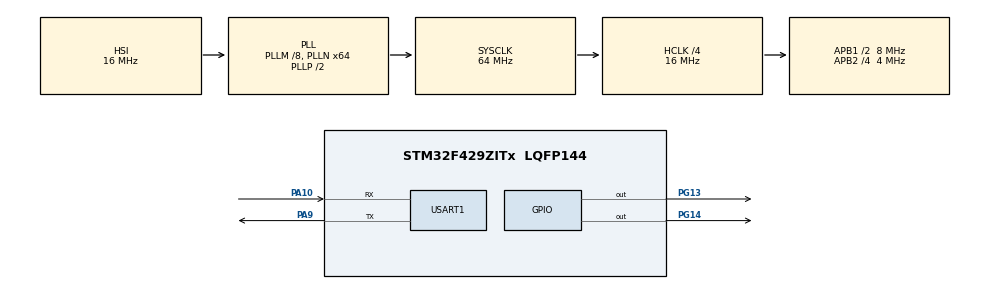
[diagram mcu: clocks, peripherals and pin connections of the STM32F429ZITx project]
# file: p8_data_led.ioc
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ADC1.Channel-0\#ChannelRegularConversion=ADC_CHANNEL_VREFINT
ADC1.Channel-1\#ChannelRegularConversion=ADC_CHANNEL_TEMPSENSOR
ADC1.ContinuousConvMode=DISABLE
ADC1.NbrOfConversion=2
ADC1.NbrOfConversionFlag=1
ADC1.Rank-0\#ChannelRegularConversion=1
ADC1.Rank-1\#ChannelRegularConversion=2
ADC1.SamplingTime-0\#ChannelRegularConversion=ADC_SAMPLETIME_56CYCLES
ADC1.SamplingTime-1\#ChannelRegularConversion=ADC_SAMPLETIME_56CYCLES
ADC1.master=1
Dma.Request0=USART1_RX
Dma.Request1=USART1_TX
Dma.USART1_RX.0.Direction=DMA_PERIPH_TO_MEMORY
Dma.USART1_RX.0.FIFOMode=DMA_FIFOMODE_DISABLE
Dma.USART1_RX.0.Instance=DMA2_Stream2
Dma.USART1_RX.0.MemDataAlignment=DMA_MDATAALIGN_BYTE
Dma.USART1_RX.0.MemInc=DMA_MINC_ENABLE
Dma.USART1_RX.0.Mode=DMA_NORMAL
Dma.USART1_RX.0.PeriphDataAlignment=DMA_PDATAALIGN_BYTE
Dma.USART1_RX.0.PeriphInc=DMA_PINC_DISABLE
Dma.USART1_RX.0.Priority=DMA_PRIORITY_LOW
Dma.USART1_TX.1.Direction=DMA_MEMORY_TO_PERIPH
Dma.USART1_TX.1.FIFOMode=DMA_FIFOMODE_DISABLE
Dma.USART1_TX.1.Instance=DMA2_Stream7
Dma.USART1_TX.1.MemDataAlignment=DMA_MDATAALIGN_BYTE
Dma.USART1_TX.1.MemInc=DMA_MINC_ENABLE
Dma.USART1_TX.1.Mode=DMA_NORMAL
Dma.USART1_TX.1.PeriphDataAlignment=DMA_PDATAALIGN_BYTE
Dma.USART1_TX.1.PeriphInc=DMA_PINC_DISABLE
Dma.USART1_TX.1.Priority=DMA_PRIORITY_LOW
Mcu.Family=STM32F4
Mcu.Name=STM32F429ZITx
Mcu.Package=LQFP144
NVIC.ADC_IRQn=true\:0\:0\:false\:false\:true\:true\:true\:true
NVIC.DMA2_Stream2_IRQn=true\:0\:0\:false\:false\:true\:false\:true\:true
NVIC.DMA2_Stream7_IRQn=true\:0\:0\:false\:false\:true\:false\:true\:true
NVIC.PriorityGroup=NVIC_PRIORITYGROUP_4
NVIC.USART1_IRQn=true\:0\:0\:false\:false\:true\:true\:true\:true
PA10.Mode=Asynchronous
PA10.Signal=USART1_RX
PA9.Mode=Asynchronous
PA9.Signal=USART1_TX
PG13.Signal=GPIO_Output
PG14.Signal=GPIO_Output
ProjectManager.HeapSize=0x200
ProjectManager.StackSize=0x400
ProjectManager.TargetToolchain=STM32CubeIDE
RCC.48MHZClocksFreq_Value=32000000
RCC.AHBCLKDivider=RCC_SYSCLK_DIV4
RCC.AHBFreq_Value=16000000
RCC.APB1CLKDivider=RCC_HCLK_DIV2
RCC.APB1Freq_Value=8000000
RCC.APB1TimFreq_Value=16000000
RCC.APB2CLKDivider=RCC_HCLK_DIV4
RCC.APB2Freq_Value=4000000
RCC.APB2TimFreq_Value=8000000
RCC.CortexFreq_Value=16000000
RCC.HCLKFreq_Value=16000000
RCC.HSE_VALUE=25000000
RCC.HSI_VALUE=16000000
RCC.LSE_VALUE=32768
RCC.PLLM=8
RCC.PLLN=64
RCC.SYSCLKFreq_VALUE=64000000
RCC.SYSCLKSource=RCC_SYSCLKSOURCE_PLLCLK
RCC.VCOOutputFreq_Value=128000000
USART1.VirtualMode=VM_ASYNC
VP_ADC1_TempSens_Input.Mode=IN-TempSens
VP_ADC1_Vref_Input.Mode=IN-Vrefint
VP_CRC_VS_CRC.Mode=CRC_Activate
board=custom

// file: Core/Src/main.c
/* USER CODE BEGIN Header */
/**
  ******************************************************************************
  * @file           : main.c
  * @brief          : Main program body
  ******************************************************************************
  * @attention
  *
  * Copyright (c) 2025 STMicroelectronics.
  * All rights reserved.
  *
  * This software is licensed under terms that can be found in the LICENSE file
  * in the root directory of this software component.
  * If no LICENSE file comes with this software, it is provided AS-IS.
  *
  ******************************************************************************
  */
/* USER CODE END Header */
#include "main.h"

/* USER CODE BEGIN Includes */
#define RX_BUFFER_SIZE 50
#define VREFIN_CAL ((uint16_t*)((uint32_t)0x1FFF7A2A))
#define V25 (float) 0.76
#define Avg_slope (float) 0.0025

volatile uint16_t adc1_value[3];
volatile float Vadc1= 0, Vsense= 0, Vdda= 0, temp=0;
volatile int count =0;

/* USER CODE END Includes */

/* USER CODE BEGIN PD */
/* USER CODE BEGIN PD */

uint32_t data_packet[7];
uint32_t data_packet2[16];

uint8_t Tdata[6];
uint8_t Rdata[6];

uint8_t TX_Buffer[50];
uint8_t RX_Buffer[50];

uint32_t crc;
uint32_t crc1;
uint32_t gelen_crc;
uint32_t hesaplanan_crc;
uint32_t crc_check;

uint32_t command = 0x05;
uint32_t size = 0x0A;
uint8_t data[16];

uint8_t buton = 0;
uint8_t buton1 = 0;
uint8_t durum;

HAL_StatusTypeDef Status1;
HAL_StatusTypeDef Status2;

uint8_t aRXBufferUser[RX_BUFFER_SIZE];
uint8_t UserBuffer1[RX_BUFFER_SIZE];
uint8_t UserBuffer2[RX_BUFFER_SIZE];

uint8_t *pBufferReadyForUser = UserBuffer1;
uint8_t *pBufferReadyForReception = UserBuffer2;

uint16_t uwNbReceivedChars = 0;

/* USER CODE END PD */

ADC_HandleTypeDef hadc1;

CRC_HandleTypeDef hcrc;

UART_HandleTypeDef huart1;
DMA_HandleTypeDef hdma_usart1_rx;
DMA_HandleTypeDef hdma_usart1_tx;

void SystemClock_Config(void);
static void MX_GPIO_Init(void);
static void MX_DMA_Init(void);
static void MX_USART1_UART_Init(void);
static void MX_CRC_Init(void);
static void MX_ADC1_Init(void);

/* USER CODE BEGIN 0 */

void HAL_ADC_ConvCpltCallback(ADC_HandleTypeDef *hadc)
{
	if(__HAL_ADC_GET_FLAG(&hadc1, ADC_FLAG_EOC) != RESET)
	{
		adc1_value[count] = HAL_ADC_GetValue(&hadc1);
		count++;
		if(count == 2)count=0;

		Vdda = (float) 3.3 * (*VREFIN_CAL) / adc1_value[0];
		Vsense = Vdda * adc1_value[1] / 4095;

		temp = ((Vsense - V25) / Avg_slope ) + 25;

	}

}
/* USER CODE END 0 */

int main(void)
{

  /* MCU Configuration--------------------------------------------------------*/

  /* Reset of all peripherals, Initializes the Flash interface and the Systick. */
  HAL_Init();

  /* Configure the system clock */
  SystemClock_Config();

  /* Initialize all configured peripherals */
  MX_GPIO_Init();
  MX_DMA_Init();
  MX_USART1_UART_Init();
  MX_CRC_Init();
  MX_ADC1_Init();
  /* USER CODE BEGIN 2 */

   HAL_UARTEx_ReceiveToIdle_DMA(&huart1, aRXBufferUser, RX_BUFFER_SIZE);

  /* USER CODE END 2 */

  /* Infinite loop */
  /* USER CODE BEGIN WHILE */
  while (1)
  {

	  if (data_packet2[0] == 0x01 && data_packet2[1] == 0x01)
	  {
	      if (data_packet2[2] == 0x00)
	      {
	          HAL_GPIO_WritePin(GPIOG, GPIO_PIN_13 | GPIO_PIN_14, GPIO_PIN_RESET);
	      }
	      else if (data_packet2[2] == 0x01)
	      {
	          HAL_GPIO_WritePin(GPIOG, GPIO_PIN_13 | GPIO_PIN_14, GPIO_PIN_SET);
	      }
	  }

	  if (data_packet2[0] == 0x02)
	  {
	      if (HAL_GPIO_ReadPin(GPIOG, GPIO_PIN_13) == GPIO_PIN_SET)
	      {
	          char msg[] = "LED YANIYOR";
	          HAL_UART_Transmit_DMA(&huart1, (uint8_t*)msg, strlen(msg));
	      }
	      else
	      {
	          char msg[] = "LED SONUK";
	          HAL_UART_Transmit_DMA(&huart1, (uint8_t*)msg, strlen(msg));
	      }

	      data_packet2[0] = 0x00;
	  }

	  if(data_packet2[0] == 0x03)
	  {
		  HAL_ADC_Start_IT(&hadc1);
		  data_packet2[0] = 0x00;
	  }

	  if (data_packet2[0] == 0x04)
	  {

		  char tempStr[10];
		  sprintf(tempStr, "sicaklik= %.2f", temp);
		  HAL_UART_Transmit_DMA(&huart1, (uint8_t*)tempStr, strlen(tempStr));

		  data_packet2[0] = 0x00;
	  }

    /* USER CODE END WHILE */

  }
}

void SystemClock_Config(void)
{
  RCC_OscInitTypeDef RCC_OscInitStruct = {0};
  RCC_ClkInitTypeDef RCC_ClkInitStruct = {0};

  /** Configure the main internal regulator output voltage
  */
  __HAL_RCC_PWR_CLK_ENABLE();
  __HAL_PWR_VOLTAGESCALING_CONFIG(PWR_REGULATOR_VOLTAGE_SCALE3);

  /** Initializes the RCC Oscillators according to the specified parameters
  * in the RCC_OscInitTypeDef structure.
  */
  RCC_OscInitStruct.OscillatorType = RCC_OSCILLATORTYPE_HSI;
  RCC_OscInitStruct.HSIState = RCC_HSI_ON;
  RCC_OscInitStruct.HSICalibrationValue = RCC_HSICALIBRATION_DEFAULT;
  RCC_OscInitStruct.PLL.PLLState = RCC_PLL_ON;
  RCC_OscInitStruct.PLL.PLLSource = RCC_PLLSOURCE_HSI;
  RCC_OscInitStruct.PLL.PLLM = 8;
  RCC_OscInitStruct.PLL.PLLN = 64;
  RCC_OscInitStruct.PLL.PLLP = RCC_PLLP_DIV2;
  RCC_OscInitStruct.PLL.PLLQ = 4;
  if (HAL_RCC_OscConfig(&RCC_OscInitStruct) != HAL_OK)
  {
    Error_Handler();
  }

  /** Initializes the CPU, AHB and APB buses clocks
  */
  RCC_ClkInitStruct.ClockType = RCC_CLOCKTYPE_HCLK|RCC_CLOCKTYPE_SYSCLK
                              |RCC_CLOCKTYPE_PCLK1|RCC_CLOCKTYPE_PCLK2;
  RCC_ClkInitStruct.SYSCLKSource = RCC_SYSCLKSOURCE_PLLCLK;
  RCC_ClkInitStruct.AHBCLKDivider = RCC_SYSCLK_DIV4;
  RCC_ClkInitStruct.APB1CLKDivider = RCC_HCLK_DIV2;
  RCC_ClkInitStruct.APB2CLKDivider = RCC_HCLK_DIV4;

  if (HAL_RCC_ClockConfig(&RCC_ClkInitStruct, FLASH_LATENCY_0) != HAL_OK)
  {
    Error_Handler();
  }
}

static void MX_ADC1_Init(void)
{

  ADC_ChannelConfTypeDef sConfig = {0};

  /** Configure the global features of the ADC (Clock, Resolution, Data Alignment and number of conversion)
  */
  hadc1.Instance = ADC1;
  hadc1.Init.ClockPrescaler = ADC_CLOCK_SYNC_PCLK_DIV2;
  hadc1.Init.Resolution = ADC_RESOLUTION_12B;
  hadc1.Init.ScanConvMode = ENABLE;
  hadc1.Init.ContinuousConvMode = DISABLE;
  hadc1.Init.DiscontinuousConvMode = DISABLE;
  hadc1.Init.ExternalTrigConvEdge = ADC_EXTERNALTRIGCONVEDGE_NONE;
  hadc1.Init.ExternalTrigConv = ADC_SOFTWARE_START;
  hadc1.Init.DataAlign = ADC_DATAALIGN_RIGHT;
  hadc1.Init.NbrOfConversion = 2;
  hadc1.Init.DMAContinuousRequests = DISABLE;
  hadc1.Init.EOCSelection = ADC_EOC_SINGLE_CONV;
  if (HAL_ADC_Init(&hadc1) != HAL_OK)
  {
    Error_Handler();
  }

  /** Configure for the selected ADC regular channel its corresponding rank in the sequencer and its sample time.
  */
  sConfig.Channel = ADC_CHANNEL_VREFINT;
  sConfig.Rank = 1;
  sConfig.SamplingTime = ADC_SAMPLETIME_56CYCLES;
  if (HAL_ADC_ConfigChannel(&hadc1, &sConfig) != HAL_OK)
  {
    Error_Handler();
  }

  /** Configure for the selected ADC regular channel its corresponding rank in the sequencer and its sample time.
  */
  sConfig.Channel = ADC_CHANNEL_TEMPSENSOR;
  sConfig.Rank = 2;
  if (HAL_ADC_ConfigChannel(&hadc1, &sConfig) != HAL_OK)
  {
    Error_Handler();
  }

}

static void MX_CRC_Init(void)
{

  hcrc.Instance = CRC;
  if (HAL_CRC_Init(&hcrc) != HAL_OK)
  {
    Error_Handler();
  }

}

static void MX_USART1_UART_Init(void)
{

  huart1.Instance = USART1;
  huart1.Init.BaudRate = 115200;
  huart1.Init.WordLength = UART_WORDLENGTH_8B;
  huart1.Init.StopBits = UART_STOPBITS_1;
  huart1.Init.Parity = UART_PARITY_NONE;
  huart1.Init.Mode = UART_MODE_TX_RX;
  huart1.Init.HwFlowCtl = UART_HWCONTROL_NONE;
  huart1.Init.OverSampling = UART_OVERSAMPLING_16;
  if (HAL_UART_Init(&huart1) != HAL_OK)
  {
    Error_Handler();
  }

}

static void MX_DMA_Init(void)
{

  /* DMA controller clock enable */
  __HAL_RCC_DMA2_CLK_ENABLE();

  /* DMA interrupt init */
  /* DMA2_Stream2_IRQn interrupt configuration */
  HAL_NVIC_SetPriority(DMA2_Stream2_IRQn, 0, 0);
  HAL_NVIC_EnableIRQ(DMA2_Stream2_IRQn);
  /* DMA2_Stream7_IRQn interrupt configuration */
  HAL_NVIC_SetPriority(DMA2_Stream7_IRQn, 0, 0);
  HAL_NVIC_EnableIRQ(DMA2_Stream7_IRQn);

}

static void MX_GPIO_Init(void)
{
  GPIO_InitTypeDef GPIO_InitStruct = {0};

  /* GPIO Ports Clock Enable */
  __HAL_RCC_GPIOA_CLK_ENABLE();
  __HAL_RCC_GPIOG_CLK_ENABLE();

  /*Configure GPIO pin Output Level */
  HAL_GPIO_WritePin(GPIOG, GPIO_PIN_13|GPIO_PIN_14, GPIO_PIN_RESET);

  /*Configure GPIO pins : PG13 PG14 */
  GPIO_InitStruct.Pin = GPIO_PIN_13|GPIO_PIN_14;
  GPIO_InitStruct.Mode = GPIO_MODE_OUTPUT_PP;
  GPIO_InitStruct.Pull = GPIO_NOPULL;
  GPIO_InitStruct.Speed = GPIO_SPEED_FREQ_LOW;
  HAL_GPIO_Init(GPIOG, &GPIO_InitStruct);

}

/* USER CODE BEGIN 4 */
void HAL_UARTEx_RxEventCallback(UART_HandleTypeDef *huart, uint16_t Size)
{
    static uint16_t old_pos = 0;
    uint8_t *ptemp;
    uint8_t i;

    if (huart->Instance == USART1)
    {
        if (Size != old_pos)
        {
            if (Size > old_pos)
            {
                uwNbReceivedChars = Size - old_pos;
                for (i = 0; i < uwNbReceivedChars; i++)
                {
                    pBufferReadyForUser[i] = aRXBufferUser[old_pos + i];
                }
            }
            else
            {
                uwNbReceivedChars = RX_BUFFER_SIZE - old_pos;
                for (i = 0; i < uwNbReceivedChars; i++)
                {
                    pBufferReadyForUser[i] = aRXBufferUser[old_pos + i];
                }
                if (Size > 0)
                {
                    for (i = 0; i < Size; i++)
                    {
                        pBufferReadyForUser[uwNbReceivedChars + i] = aRXBufferUser[i];
                    }
                    uwNbReceivedChars += Size;
                }
            }

            if (pBufferReadyForUser[0] == 0x0B)
            {
                uint8_t cmd = pBufferReadyForUser[1];
                uint8_t sz = pBufferReadyForUser[2];

                if (sz <= 16 && pBufferReadyForUser[3 + sz + 4] == 0x09)
                {
                    memset(data_packet2, 0, sizeof(data_packet2));

                    for (uint8_t j = 0; j < sz + 2; j++)
                    {
                        data_packet2[j] = pBufferReadyForUser[1 + j];
                    }

                    gelen_crc = (pBufferReadyForUser[3 + sz] << 24) |
                                (pBufferReadyForUser[4 + sz] << 16) |
                                (pBufferReadyForUser[5 + sz] << 8) |
                                (pBufferReadyForUser[6 + sz]);

                    crc1 = HAL_CRC_Calculate(&hcrc, data_packet2, 2 + sz);

                    if (crc1 == gelen_crc)
                    {
                    	durum = 1;
                    }
                }
            }

            ptemp = pBufferReadyForUser;
            pBufferReadyForUser = pBufferReadyForReception;
            pBufferReadyForReception = ptemp;
        }

        old_pos = 0;
        HAL_UARTEx_ReceiveToIdle_DMA(&huart1, aRXBufferUser, RX_BUFFER_SIZE);
    }
}
/* USER CODE END 4 */

void Error_Handler(void)
{
  __disable_irq();
  while (1)
  {
  }
}
